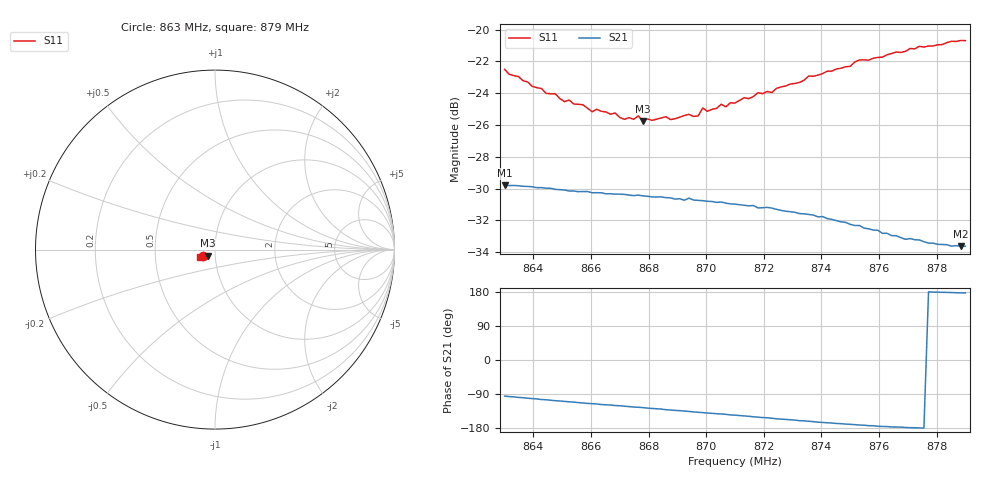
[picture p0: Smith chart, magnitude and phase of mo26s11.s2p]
# HZ S RI R 50
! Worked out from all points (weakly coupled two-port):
!   101 points, 863 MHz to 879 MHz, reference 50 ohm
!   highest |S21| = -29.79 dB at 863 MHz (marker M1); lowest = -33.6 dB at 878.84 MHz (marker M2)
!   lowest |S11| = -25.8 dB at 867.8 MHz (marker M3), VSWR 1.11, Z = 46.1 - j3.1 ohm
!   |S11| at or under -10 dB: start of sweep to end of sweep
!   S12 and S22 are empty: the file has one direction only
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8.63e8  -0.065 -0.0373  -0.00291 -0.0323  0 0  0 0
8.6444e8  -0.0546 -0.0314  -0.00821 -0.0306  0 0  0 0
8.6572e8  -0.0488 -0.0314  -0.0123 -0.0284  0 0  0 0
8.6604e8  -0.0468 -0.0292  -0.0131 -0.0277  0 0  0 0
8.662e8  -0.0466 -0.0313  -0.0135 -0.0276  0 0  0 0
8.6684e8  -0.0441 -0.0323  -0.0152 -0.0263  0 0  0 0
8.6716e8  -0.0413 -0.032  -0.016 -0.0257  0 0  0 0
8.6764e8  -0.0403 -0.0352  -0.0171 -0.0248  0 0  0 0
8.678e8  -0.0391 -0.0336  -0.0175 -0.0244  0 0  0 0
8.6844e8  -0.0384 -0.0361  -0.0189 -0.023  0 0  0 0
8.6972e8  -0.036 -0.0395  -0.0216 -0.0194  0 0  0 0
8.6988e8  -0.0383 -0.0418  -0.0218 -0.0191  0 0  0 0
8.7004e8  -0.0362 -0.0419  -0.0221 -0.0186  0 0  0 0
8.7052e8  -0.0383 -0.0439  -0.0227 -0.0175  0 0  0 0
8.7068e8  -0.0374 -0.0432  -0.0229 -0.017  0 0  0 0
8.71e8  -0.0376 -0.0452  -0.0233 -0.016  0 0  0 0
8.7372e8  -0.0477 -0.053  -0.0249 -0.0078  0 0  0 0
8.75e8  -0.0557 -0.0526  -0.024 -0.00433  0 0  0 0
8.7532e8  -0.0595 -0.0538  -0.0239 -0.00355  0 0  0 0
8.7644e8  -0.0667 -0.0512  -0.0225 -0.00131  0 0  0 0
8.7884e8  -0.0831 -0.0404  -0.0208 0.00101  0 0  0 0
8.79e8  -0.0834 -0.0394  -0.0208 0.00105  0 0  0 0
